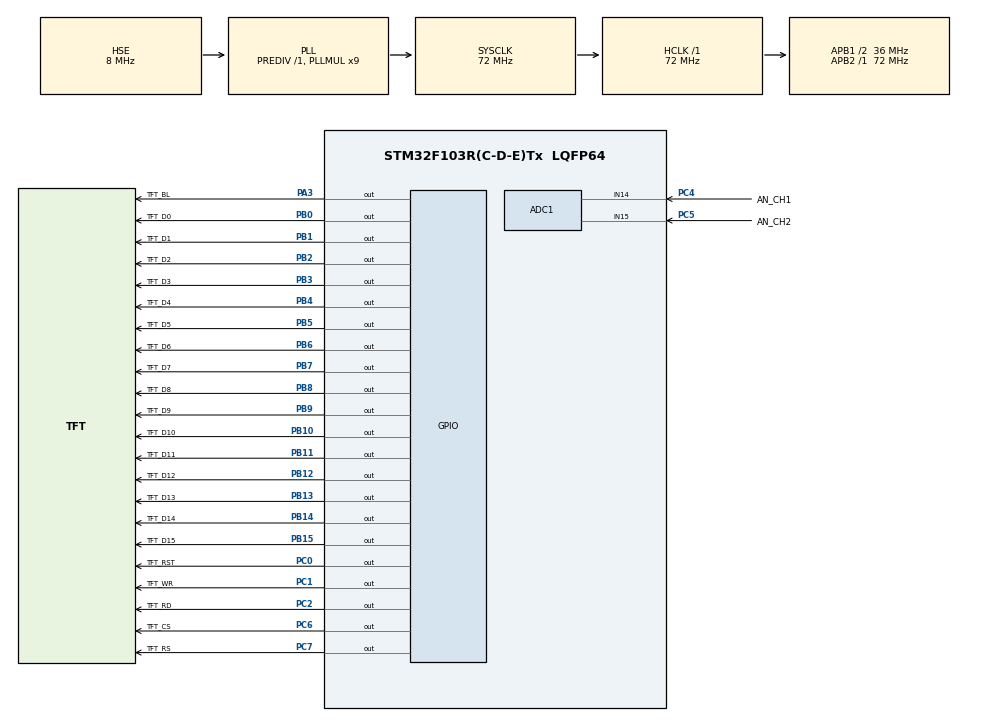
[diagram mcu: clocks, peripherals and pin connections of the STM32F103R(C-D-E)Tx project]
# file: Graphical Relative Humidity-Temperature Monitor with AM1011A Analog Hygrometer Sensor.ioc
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ADC1.Channel-0\#ChannelRegularConversion=ADC_CHANNEL_14
ADC1.Channel-1\#ChannelRegularConversion=ADC_CHANNEL_15
ADC1.NbrOfConversion=2
ADC1.NbrOfConversionFlag=1
ADC1.Rank-0\#ChannelRegularConversion=1
ADC1.Rank-1\#ChannelRegularConversion=2
ADC1.SamplingTime-0\#ChannelRegularConversion=ADC_SAMPLETIME_13CYCLES_5
ADC1.SamplingTime-1\#ChannelRegularConversion=ADC_SAMPLETIME_13CYCLES_5
ADC1.master=1
Dma.ADC1.0.Direction=DMA_PERIPH_TO_MEMORY
Dma.ADC1.0.Instance=DMA1_Channel1
Dma.ADC1.0.MemDataAlignment=DMA_MDATAALIGN_HALFWORD
Dma.ADC1.0.MemInc=DMA_MINC_ENABLE
Dma.ADC1.0.Mode=DMA_NORMAL
Dma.ADC1.0.PeriphDataAlignment=DMA_PDATAALIGN_HALFWORD
Dma.ADC1.0.PeriphInc=DMA_PINC_DISABLE
Dma.ADC1.0.Priority=DMA_PRIORITY_LOW
Dma.Request0=ADC1
Mcu.Family=STM32F1
Mcu.Name=STM32F103R(C-D-E)Tx
Mcu.Package=LQFP64
NVIC.DMA1_Channel1_IRQn=true\:0\:0\:false\:false\:true\:false\:true\:true
NVIC.PriorityGroup=NVIC_PRIORITYGROUP_4
PA3.GPIO_Label=TFT_BL
PA3.GPIO_ModeDefaultOutputPP=GPIO_MODE_OUTPUT_PP
PA3.GPIO_PuPd=GPIO_NOPULL
PA3.GPIO_Speed=GPIO_SPEED_FREQ_HIGH
PA3.PinState=GPIO_PIN_RESET
PA3.Signal=GPIO_Output
PB0.GPIO_Label=TFT_D0
PB0.GPIO_ModeDefaultOutputPP=GPIO_MODE_OUTPUT_PP
PB0.GPIO_PuPd=GPIO_NOPULL
PB0.GPIO_Speed=GPIO_SPEED_FREQ_HIGH
PB0.PinState=GPIO_PIN_RESET
PB0.Signal=GPIO_Output
PB1.GPIO_Label=TFT_D1
PB1.GPIO_ModeDefaultOutputPP=GPIO_MODE_OUTPUT_PP
PB1.GPIO_PuPd=GPIO_NOPULL
PB1.GPIO_Speed=GPIO_SPEED_FREQ_HIGH
PB1.PinState=GPIO_PIN_RESET
PB1.Signal=GPIO_Output
PB10.GPIO_Label=TFT_D10
PB10.GPIO_ModeDefaultOutputPP=GPIO_MODE_OUTPUT_PP
PB10.GPIO_PuPd=GPIO_NOPULL
PB10.GPIO_Speed=GPIO_SPEED_FREQ_HIGH
PB10.PinState=GPIO_PIN_RESET
PB10.Signal=GPIO_Output
PB11.GPIO_Label=TFT_D11
PB11.GPIO_ModeDefaultOutputPP=GPIO_MODE_OUTPUT_PP
PB11.GPIO_PuPd=GPIO_NOPULL
PB11.GPIO_Speed=GPIO_SPEED_FREQ_HIGH
PB11.PinState=GPIO_PIN_RESET
PB11.Signal=GPIO_Output
PB12.GPIO_Label=TFT_D12
PB12.GPIO_ModeDefaultOutputPP=GPIO_MODE_OUTPUT_PP
PB12.GPIO_PuPd=GPIO_NOPULL
PB12.GPIO_Speed=GPIO_SPEED_FREQ_HIGH
PB12.PinState=GPIO_PIN_RESET
PB12.Signal=GPIO_Output
PB13.GPIO_Label=TFT_D13
PB13.GPIO_ModeDefaultOutputPP=GPIO_MODE_OUTPUT_PP
PB13.GPIO_PuPd=GPIO_NOPULL
PB13.GPIO_Speed=GPIO_SPEED_FREQ_HIGH
PB13.PinState=GPIO_PIN_RESET
PB13.Signal=GPIO_Output
PB14.GPIO_Label=TFT_D14
PB14.GPIO_ModeDefaultOutputPP=GPIO_MODE_OUTPUT_PP
PB14.GPIO_PuPd=GPIO_NOPULL
PB14.GPIO_Speed=GPIO_SPEED_FREQ_HIGH
PB14.PinState=GPIO_PIN_RESET
PB14.Signal=GPIO_Output
PB15.GPIO_Label=TFT_D15
PB15.GPIO_ModeDefaultOutputPP=GPIO_MODE_OUTPUT_PP
PB15.GPIO_PuPd=GPIO_NOPULL
PB15.GPIO_Speed=GPIO_SPEED_FREQ_HIGH
PB15.PinState=GPIO_PIN_RESET
PB15.Signal=GPIO_Output
PB2.GPIO_Label=TFT_D2
PB2.GPIO_ModeDefaultOutputPP=GPIO_MODE_OUTPUT_PP
PB2.GPIO_PuPd=GPIO_NOPULL
PB2.GPIO_Speed=GPIO_SPEED_FREQ_HIGH
PB2.PinState=GPIO_PIN_RESET
PB2.Signal=GPIO_Output
PB3.GPIO_Label=TFT_D3
PB3.GPIO_ModeDefaultOutputPP=GPIO_MODE_OUTPUT_PP
PB3.GPIO_PuPd=GPIO_NOPULL
PB3.GPIO_Speed=GPIO_SPEED_FREQ_HIGH
PB3.PinState=GPIO_PIN_RESET
PB3.Signal=GPIO_Output
PB4.GPIO_Label=TFT_D4
PB4.GPIO_ModeDefaultOutputPP=GPIO_MODE_OUTPUT_PP
PB4.GPIO_PuPd=GPIO_NOPULL
PB4.GPIO_Speed=GPIO_SPEED_FREQ_HIGH
PB4.PinState=GPIO_PIN_RESET
PB4.Signal=GPIO_Output
PB5.GPIO_Label=TFT_D5
PB5.GPIO_ModeDefaultOutputPP=GPIO_MODE_OUTPUT_PP
PB5.GPIO_PuPd=GPIO_NOPULL
PB5.GPIO_Speed=GPIO_SPEED_FREQ_HIGH
PB5.PinState=GPIO_PIN_RESET
PB5.Signal=GPIO_Output
PB6.GPIO_Label=TFT_D6
PB6.GPIO_ModeDefaultOutputPP=GPIO_MODE_OUTPUT_PP
PB6.GPIO_PuPd=GPIO_NOPULL
PB6.GPIO_Speed=GPIO_SPEED_FREQ_HIGH
PB6.PinState=GPIO_PIN_RESET
PB6.Signal=GPIO_Output
PB7.GPIO_Label=TFT_D7
PB7.GPIO_ModeDefaultOutputPP=GPIO_MODE_OUTPUT_PP
PB7.GPIO_PuPd=GPIO_NOPULL
PB7.GPIO_Speed=GPIO_SPEED_FREQ_HIGH
PB7.PinState=GPIO_PIN_RESET
PB7.Signal=GPIO_Output
PB8.GPIO_Label=TFT_D8
PB8.GPIO_ModeDefaultOutputPP=GPIO_MODE_OUTPUT_PP
PB8.GPIO_PuPd=GPIO_NOPULL
PB8.GPIO_Speed=GPIO_SPEED_FREQ_HIGH
PB8.PinState=GPIO_PIN_RESET
PB8.Signal=GPIO_Output
PB9.GPIO_Label=TFT_D9
PB9.GPIO_ModeDefaultOutputPP=GPIO_MODE_OUTPUT_PP
PB9.GPIO_PuPd=GPIO_NOPULL
PB9.GPIO_Speed=GPIO_SPEED_FREQ_HIGH
PB9.PinState=GPIO_PIN_RESET
PB9.Signal=GPIO_Output
PC0.GPIO_Label=TFT_RST
PC0.GPIO_ModeDefaultOutputPP=GPIO_MODE_OUTPUT_PP
PC0.GPIO_PuPd=GPIO_NOPULL
PC0.GPIO_Speed=GPIO_SPEED_FREQ_HIGH
PC0.PinState=GPIO_PIN_RESET
PC0.Signal=GPIO_Output
PC1.GPIO_Label=TFT_WR
PC1.GPIO_ModeDefaultOutputPP=GPIO_MODE_OUTPUT_PP
PC1.GPIO_PuPd=GPIO_NOPULL
PC1.GPIO_Speed=GPIO_SPEED_FREQ_HIGH
PC1.PinState=GPIO_PIN_RESET
PC1.Signal=GPIO_Output
PC2.GPIO_Label=TFT_RD
PC2.GPIO_ModeDefaultOutputPP=GPIO_MODE_OUTPUT_PP
PC2.GPIO_PuPd=GPIO_NOPULL
PC2.GPIO_Speed=GPIO_SPEED_FREQ_HIGH
PC2.PinState=GPIO_PIN_RESET
PC2.Signal=GPIO_Output
PC4.GPIO_Label=AN_CH1
PC4.Signal=SharedAnalog_PC4
PC5.GPIO_Label=AN_CH2
PC5.Signal=SharedAnalog_PC5
PC6.GPIO_Label=TFT_CS
PC6.GPIO_ModeDefaultOutputPP=GPIO_MODE_OUTPUT_PP
PC6.GPIO_PuPd=GPIO_NOPULL
PC6.GPIO_Speed=GPIO_SPEED_FREQ_HIGH
PC6.PinState=GPIO_PIN_RESET
PC6.Signal=GPIO_Output
PC7.GPIO_Label=TFT_RS
PC7.GPIO_ModeDefaultOutputPP=GPIO_MODE_OUTPUT_PP
PC7.GPIO_PuPd=GPIO_NOPULL
PC7.GPIO_Speed=GPIO_SPEED_FREQ_HIGH
PC7.PinState=GPIO_PIN_RESET
PC7.Signal=GPIO_Output
PD0-OSC_IN.Mode=HSE-External-Clock-Source
PD0-OSC_IN.Signal=RCC_OSC_IN
PD1-OSC_OUT.Mode=HSE-External-Clock-Source
PD1-OSC_OUT.Signal=RCC_OSC_OUT
ProjectManager.HeapSize=0x200
ProjectManager.StackSize=0x400
ProjectManager.TargetToolchain=STM32CubeIDE
RCC.ADCPresc=RCC_ADCPCLK2_DIV8
RCC.AHBFreq_Value=72000000
RCC.APB1CLKDivider=RCC_HCLK_DIV2
RCC.APB1Freq_Value=36000000
RCC.APB1TimFreq_Value=72000000
RCC.APB2Freq_Value=72000000
RCC.APB2TimFreq_Value=72000000
RCC.HCLKFreq_Value=72000000
RCC.PLLMUL=RCC_PLL_MUL9
RCC.PLLSourceVirtual=RCC_PLLSOURCE_HSE
RCC.SYSCLKFreq_VALUE=72000000
RCC.SYSCLKSource=RCC_SYSCLKSOURCE_PLLCLK
RCC.USBFreq_Value=72000000
SH.SharedAnalog_PC4.0=GPIO_Analog
SH.SharedAnalog_PC4.1=ADC1_IN14,IN14
SH.SharedAnalog_PC5.0=GPIO_Analog
SH.SharedAnalog_PC5.1=ADC1_IN15,IN15
board=custom

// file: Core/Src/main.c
/* USER CODE BEGIN Header */
/**
  ******************************************************************************
  * @file           : main.c
  * @brief          : Main program body
  ******************************************************************************
  * @attention
  *
  * Copyright (c) 2023 STMicroelectronics.
  * All rights reserved.
  *
  * This software is licensed under terms that can be found in the LICENSE file
  * in the root directory of this software component.
  * If no LICENSE file comes with this software, it is provided AS-IS.
  *
  ******************************************************************************
  */
/* USER CODE END Header */
#include "main.h"
#include "AM1011A.h"
#include "ILI932x.h"
#include "BMP.h"
#include <math.h>

/* USER CODE BEGIN PTD */
#define angular_range		((110.0 / 180.0) * 3.142)
/* USER CODE END PTD */

ADC_HandleTypeDef hadc1;
DMA_HandleTypeDef hdma_adc1;

/* USER CODE BEGIN PV */
volatile uint16_t adc_res[2];
const int adc_ch_count = 2;
volatile int adc_comp = 0;
/* USER CODE END PV */

void SystemClock_Config(void);
static void MX_GPIO_Init(void);
static void MX_DMA_Init(void);
static void MX_ADC1_Init(void);

/* USER CODE BEGIN 0 */
void load_background_graphics();
void update_lines(uint16_t x_pos, uint16_t y_pos, uint16_t len, float value, uint16_t colour);
void update_dial(uint16_t x_pos, uint16_t y_pos, uint16_t len, float value, float past_value, uint16_t back_colour, uint16_t colour);
void update_dynamic_graphice(float t, float rh);
float constrain(float value, float min_value, float max_value);
/* USER CODE END 0 */

int main(void)
{
  /* USER CODE BEGIN 1 */
	char buffer[40];
	float t = 0;
	float rh = 0;
  /* USER CODE END 1 */

  /* MCU Configuration--------------------------------------------------------*/

  /* Reset of all peripherals, Initializes the Flash interface and the Systick. */
  HAL_Init();

  /* Configure the system clock */
  SystemClock_Config();

  /* Initialize all configured peripherals */
  MX_GPIO_Init();
  MX_DMA_Init();
  MX_ADC1_Init();
  /* USER CODE BEGIN 2 */
  TFT_init();
  load_background_graphics();
  /* USER CODE END 2 */

  /* Infinite loop */
  while (1)
  {
	  HAL_ADC_Start_DMA(&hadc1, adc_res, 2);
	  while(adc_comp == 0);

	  t = AM1101A_get_T(adc_res[0]);
	  rh = AM1101A_get_RH(adc_res[1]);

	  t = constrain(t, 0.0, 100.0);
	  rh = constrain(rh, 0.0, 100.0);

	  update_dynamic_graphice(t, rh);
	  adc_comp = 0;
	  delay_ms(400);
  }
}

void SystemClock_Config(void)
{
  RCC_OscInitTypeDef RCC_OscInitStruct = {0};
  RCC_ClkInitTypeDef RCC_ClkInitStruct = {0};
  RCC_PeriphCLKInitTypeDef PeriphClkInit = {0};

  /** Initializes the RCC Oscillators according to the specified parameters
  * in the RCC_OscInitTypeDef structure.
  */
  RCC_OscInitStruct.OscillatorType = RCC_OSCILLATORTYPE_HSE;
  RCC_OscInitStruct.HSEState = RCC_HSE_ON;
  RCC_OscInitStruct.HSEPredivValue = RCC_HSE_PREDIV_DIV1;
  RCC_OscInitStruct.HSIState = RCC_HSI_ON;
  RCC_OscInitStruct.PLL.PLLState = RCC_PLL_ON;
  RCC_OscInitStruct.PLL.PLLSource = RCC_PLLSOURCE_HSE;
  RCC_OscInitStruct.PLL.PLLMUL = RCC_PLL_MUL9;
  if (HAL_RCC_OscConfig(&RCC_OscInitStruct) != HAL_OK)
  {
    Error_Handler();
  }

  /** Initializes the CPU, AHB and APB buses clocks
  */
  RCC_ClkInitStruct.ClockType = RCC_CLOCKTYPE_HCLK|RCC_CLOCKTYPE_SYSCLK
                              |RCC_CLOCKTYPE_PCLK1|RCC_CLOCKTYPE_PCLK2;
  RCC_ClkInitStruct.SYSCLKSource = RCC_SYSCLKSOURCE_PLLCLK;
  RCC_ClkInitStruct.AHBCLKDivider = RCC_SYSCLK_DIV1;
  RCC_ClkInitStruct.APB1CLKDivider = RCC_HCLK_DIV2;
  RCC_ClkInitStruct.APB2CLKDivider = RCC_HCLK_DIV1;

  if (HAL_RCC_ClockConfig(&RCC_ClkInitStruct, FLASH_LATENCY_2) != HAL_OK)
  {
    Error_Handler();
  }
  PeriphClkInit.PeriphClockSelection = RCC_PERIPHCLK_ADC;
  PeriphClkInit.AdcClockSelection = RCC_ADCPCLK2_DIV6;
  if (HAL_RCCEx_PeriphCLKConfig(&PeriphClkInit) != HAL_OK)
  {
    Error_Handler();
  }

  /** Enables the Clock Security System
  */
  HAL_RCC_EnableCSS();
}

static void MX_ADC1_Init(void)
{

  ADC_ChannelConfTypeDef sConfig = {0};

  /** Common config
  */
  hadc1.Instance = ADC1;
  hadc1.Init.ScanConvMode = ADC_SCAN_ENABLE;
  hadc1.Init.ContinuousConvMode = DISABLE;
  hadc1.Init.DiscontinuousConvMode = DISABLE;
  hadc1.Init.ExternalTrigConv = ADC_SOFTWARE_START;
  hadc1.Init.DataAlign = ADC_DATAALIGN_RIGHT;
  hadc1.Init.NbrOfConversion = 2;
  if (HAL_ADC_Init(&hadc1) != HAL_OK)
  {
    Error_Handler();
  }

  /** Configure Regular Channel
  */
  sConfig.Channel = ADC_CHANNEL_14;
  sConfig.Rank = ADC_REGULAR_RANK_1;
  sConfig.SamplingTime = ADC_SAMPLETIME_1CYCLE_5;
  if (HAL_ADC_ConfigChannel(&hadc1, &sConfig) != HAL_OK)
  {
    Error_Handler();
  }

  /** Configure Regular Channel
  */
  sConfig.Channel = ADC_CHANNEL_15;
  sConfig.Rank = ADC_REGULAR_RANK_2;
  if (HAL_ADC_ConfigChannel(&hadc1, &sConfig) != HAL_OK)
  {
    Error_Handler();
  }

}

static void MX_DMA_Init(void)
{

  /* DMA controller clock enable */
  __HAL_RCC_DMA1_CLK_ENABLE();

  /* DMA interrupt init */
  /* DMA1_Channel1_IRQn interrupt configuration */
  HAL_NVIC_SetPriority(DMA1_Channel1_IRQn, 0, 0);
  HAL_NVIC_EnableIRQ(DMA1_Channel1_IRQn);

}

static void MX_GPIO_Init(void)
{
  GPIO_InitTypeDef GPIO_InitStruct = {0};

  /* GPIO Ports Clock Enable */
  __HAL_RCC_GPIOC_CLK_ENABLE();
  __HAL_RCC_GPIOD_CLK_ENABLE();
  __HAL_RCC_GPIOA_CLK_ENABLE();
  __HAL_RCC_GPIOB_CLK_ENABLE();

  /*Configure GPIO pin Output Level */
  HAL_GPIO_WritePin(GPIOC, TFT_RST_Pin|TFT_WR_Pin|TFT_RD_Pin|TFT_CS_Pin
                          |TFT_RS_Pin, GPIO_PIN_RESET);

  /*Configure GPIO pin Output Level */
  HAL_GPIO_WritePin(TFT_BL_GPIO_Port, TFT_BL_Pin, GPIO_PIN_RESET);

  /*Configure GPIO pin Output Level */
  HAL_GPIO_WritePin(GPIOB, TFT_D0_Pin|TFT_D1_Pin|TFT_D2_Pin|TFT_D10_Pin
                          |TFT_D11_Pin|TFT_D12_Pin|TFT_D13_Pin|TFT_D14_Pin
                          |TFT_D15_Pin|TFT_D3_Pin|TFT_D4_Pin|TFT_D5_Pin
                          |TFT_D6_Pin|TFT_D7_Pin|TFT_D8_Pin|TFT_D9_Pin, GPIO_PIN_RESET);

  /*Configure GPIO pins : TFT_RST_Pin TFT_WR_Pin TFT_RD_Pin TFT_CS_Pin
                           TFT_RS_Pin */
  GPIO_InitStruct.Pin = TFT_RST_Pin|TFT_WR_Pin|TFT_RD_Pin|TFT_CS_Pin
                          |TFT_RS_Pin;
  GPIO_InitStruct.Mode = GPIO_MODE_OUTPUT_PP;
  GPIO_InitStruct.Pull = GPIO_NOPULL;
  GPIO_InitStruct.Speed = GPIO_SPEED_FREQ_HIGH;
  HAL_GPIO_Init(GPIOC, &GPIO_InitStruct);

  /*Configure GPIO pin : TFT_BL_Pin */
  GPIO_InitStruct.Pin = TFT_BL_Pin;
  GPIO_InitStruct.Mode = GPIO_MODE_OUTPUT_PP;
  GPIO_InitStruct.Pull = GPIO_NOPULL;
  GPIO_InitStruct.Speed = GPIO_SPEED_FREQ_HIGH;
  HAL_GPIO_Init(TFT_BL_GPIO_Port, &GPIO_InitStruct);

  /*Configure GPIO pins : TFT_D0_Pin TFT_D1_Pin TFT_D2_Pin TFT_D10_Pin
                           TFT_D11_Pin TFT_D12_Pin TFT_D13_Pin TFT_D14_Pin
                           TFT_D15_Pin TFT_D3_Pin TFT_D4_Pin TFT_D5_Pin
                           TFT_D6_Pin TFT_D7_Pin TFT_D8_Pin TFT_D9_Pin */
  GPIO_InitStruct.Pin = TFT_D0_Pin|TFT_D1_Pin|TFT_D2_Pin|TFT_D10_Pin
                          |TFT_D11_Pin|TFT_D12_Pin|TFT_D13_Pin|TFT_D14_Pin
                          |TFT_D15_Pin|TFT_D3_Pin|TFT_D4_Pin|TFT_D5_Pin
                          |TFT_D6_Pin|TFT_D7_Pin|TFT_D8_Pin|TFT_D9_Pin;
  GPIO_InitStruct.Mode = GPIO_MODE_OUTPUT_PP;
  GPIO_InitStruct.Pull = GPIO_NOPULL;
  GPIO_InitStruct.Speed = GPIO_SPEED_FREQ_HIGH;
  HAL_GPIO_Init(GPIOB, &GPIO_InitStruct);

}

void HAL_ADC_ConvCpltCallback(ADC_HandleTypeDef* hadc)
{
	adc_comp = 1;
}

/* USER CODE BEGIN 4 */
void load_background_graphics()
{
	TFT_draw_BMP(0, 0, 320, 240, gImage_BMP);
	TFT_print_str(20, 16, 1, BLACK, WHITE, "AM1011A Relative Humidity & Temperature Sensor");
}

void update_lines(uint16_t x_pos, uint16_t y_pos, uint16_t len, float value, uint16_t colour)
{
	float l = 0;

	l = map_value(value, 0.0, 100.0, -(angular_range), angular_range);
	TFT_draw_line(x_pos, y_pos, (uint16_t)(x_pos + (len * sin(l))), (uint16_t)(y_pos - (len * cos(l))), colour);
	TFT_draw_line(x_pos, y_pos, (uint16_t)(x_pos - ((len / 3) * sin(l))), (uint16_t)(y_pos + ((len / 3) * cos(l))), colour);
}

void update_dial(uint16_t x_pos, uint16_t y_pos, uint16_t len, float value, float past_value, uint16_t back_colour, uint16_t colour)
{
	update_lines(x_pos, y_pos, len, past_value, back_colour);
	TFT_draw_circle(x_pos, y_pos, 3, YES, colour);
	update_lines(x_pos, y_pos, len, value, colour);
}

void update_dynamic_graphice(float t, float rh)
{
	char buffer[40];
	static float t_past;
	static float rh_past;

	update_dial(80, 114, 32, t, t_past, WHITE, BLUE);
	update_dial(236, 114, 32, rh, rh_past, WHITE, BLUE);

	sprintf(buffer, "%2.1f'C ", t);
	TFT_print_str(70, 200, 2, RED, WHITE, buffer);

	sprintf(buffer, "%3.1f ",  rh);
	TFT_print_str(230, 200, 2, GREEN, WHITE, buffer);

	TFT_print_str(256, 200, 2, GREEN, WHITE, "% ");

	t_past = t;
	rh_past = rh;
}

float constrain(float value, float min_value, float max_value)
{
	if(value > max_value)
	{
		return max_value;
	}

	else if(value < min_value)
	{
		return min_value;
	}

	else
	{
		return value;
	}
}

/* USER CODE END 4 */

void Error_Handler(void)
{
  __disable_irq();
  while (1)
  {
  }
}
